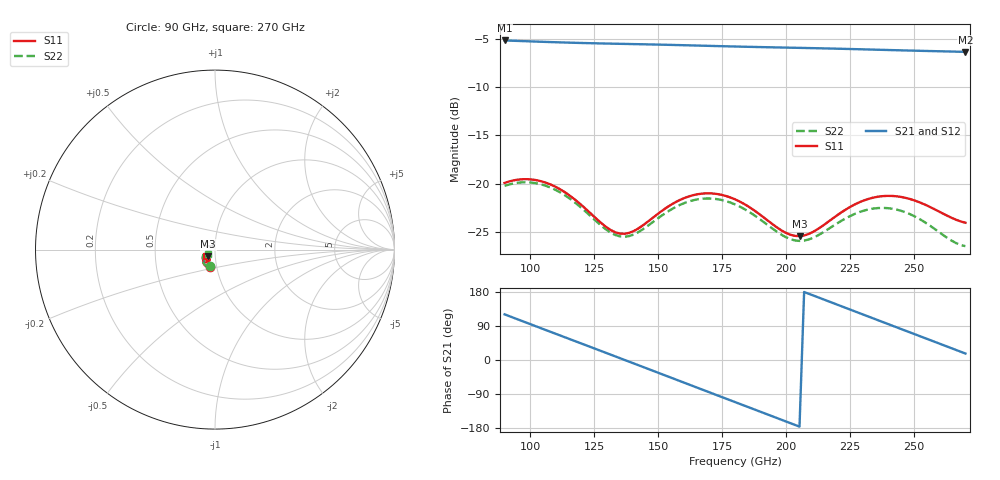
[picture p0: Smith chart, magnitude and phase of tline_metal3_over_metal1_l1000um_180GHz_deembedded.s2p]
! Created with skrf 2.0.1 (http://scikit-rf.org).
# GHz S DB R 50.0
!freq dBS11 angS11 dBS21 angS21 dBS12 angS12 dBS22 angS22
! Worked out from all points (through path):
!   101 points, 90 GHz to 270 GHz, reference 50 ohm
!   highest |S21| = -5.18 dB at 90 GHz (marker M1); lowest = -6.4 dB at 270 GHz (marker M2)
!   group delay of S21, straight-line fit = 7.15 ps
!   lowest |S11| = -25.4 dB at 205.2 GHz (marker M3), VSWR 1.11, Z = 46.2 - j3.45 ohm
!   |S11| at or under -10 dB: start of sweep to end of sweep
!   |S22| runs from -26.5 to -19.9 dB; largest |S21 - S12| = 9e-14
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90  -19.94 -105.4  -5.18 120.4  -5.18 120.4  -20.25 -108.1
97.2  -19.55 -115.3  -5.24 101.9  -5.24 101.9  -19.87 -118.1
104.4  -19.77 -125.6  -5.31 83.4  -5.31 83.4  -20.10 -128.6
111.6  -20.58 -134.8  -5.37 65.0  -5.37 65.0  -20.90 -138.1
120.6  -22.37 -141.9  -5.44 41.9  -5.44 41.9  -22.66 -145.5
127.8  -24.11 -140.4  -5.49 23.5  -5.49 23.5  -24.38 -144.7
135  -25.18 -130.9  -5.52 5.0  -5.52 5.0  -25.47 -136.0
142.2  -24.66 -120.2  -5.56 -13.6  -5.56 -13.6  -25.04 -125.9
151.2  -22.88 -116.9  -5.61 -36.8  -5.61 -36.8  -23.36 -122.9
165.6  -21.10 -128.5  -5.71 -73.9  -5.71 -73.9  -21.63 -134.8
172.8  -21.08 -136.7  -5.76 -92.5  -5.76 -92.5  -21.61 -143.1
180  -21.63 -144.0  -5.80 -111.0  -5.80 -111.0  -22.16 -150.8
192.6  -23.80 -149.3  -5.88 -143.4  -5.88 -143.4  -24.27 -156.9
205.2  -25.45 -135.8  -5.94 -175.9  -5.94 -175.9  -25.95 -145.5
210.6  -25.00 -128.2  -5.97 170.2  -5.97 170.2  -25.61 -138.7
217.8  -23.69 -123.5  -6.02 151.6  -6.02 151.6  -24.48 -134.6
226.8  -22.17 -126.1  -6.07 128.4  -6.07 128.4  -23.15 -137.6
234  -21.46 -131.8  -6.12 109.8  -6.12 109.8  -22.59 -143.6
241.2  -21.28 -138.5  -6.17 91.3  -6.17 91.3  -22.60 -150.5
253.8  -22.14 -147.8  -6.26 58.8  -6.26 58.8  -23.95 -159.5
262.8  -23.32 -148.7  -6.31 35.7  -6.31 35.7  -25.61 -158.0
270  -24.06 -144.3  -6.36 17.1  -6.36 17.1  -26.49 -149.2
